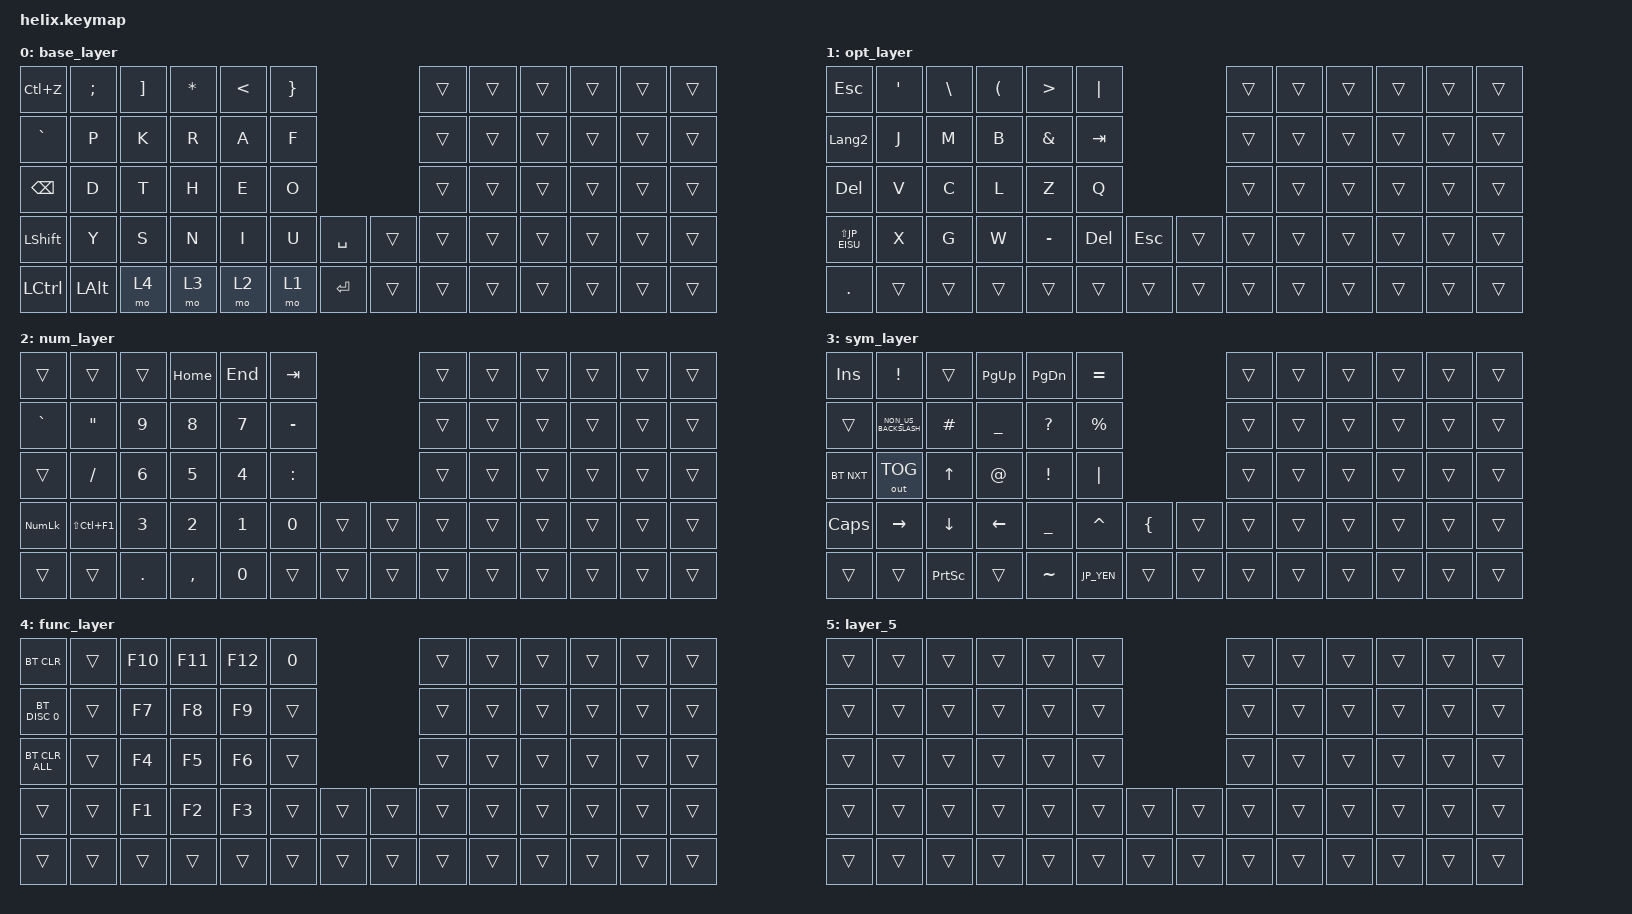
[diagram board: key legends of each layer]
// OS設定を日本語キーボードのまま使用するための変換定義

#define JP_DQUOTE       AT                // "
#define JP_AMPERSAND    CARET             // &
#define JP_QUOTE        AMPERSAND         // '
#define JP_EQUAL        UNDER             // =
#define JP_CARET        EQUAL             // ^
#define JP_YEN          0x89              // ¥
#define JP_PLUS         COLON             // +
#define JP_TILDE        PLUS              // ~
#define JP_PIPE         LS(0x89)          // |
#define JP_AT           LEFT_BRACKET      // @
#define JP_COLON        SINGLE_QUOTE      // :
#define JP_ASTERISK     DOUBLE_QUOTES     // *
#define JP_BACKQUOTE    LEFT_BRACE        // `
#define JP_UNDERSCORE   LS(0x87)          // _
#define JP_LBRACKET     RIGHT_BRACKET     // [
#define JP_RBRACKET     BACKSLASH         // ]
#define JP_LPAREN       ASTERISK          // (
#define JP_RPAREN       LEFT_PARENTHESIS  // )
#define JP_LBRACE       RIGHT_BRACE       // {
#define JP_RBRACE       PIPE              // }
#define JP_KANA         LANGUAGE_1        // かな
#define JP_EISU         LANGUAGE_2        // 英数
#define JP_HANZEN       GRAVE             // 半角/全角
#define JP_CAPS         LS(JP_EISU)       // Caps Lock

//#include <locale/keys_ja.h> // 日本語配列用ヘッダー

/*
 * Copyright (c) 2020 The ZMK Contributors
 *
 * SPDX-License-Identifier: MIT
 */

#include <behaviors.dtsi>
#include <dt-bindings/zmk/bt.h>
#include <dt-bindings/zmk/ext_power.h>
#include <dt-bindings/zmk/keys.h>
#include <dt-bindings/zmk/outputs.h>
#include <dt-bindings/zmk/rgb.h>

#define DEFAULT 0
#define LOWER  1
#define RAISE  2
#define ADJUST 3

/* NOTE: At the time of the creation of this keymap, there are no specified codes for 'eisuu' and 'kana' input in ZMK.
However, 'LANG1' and 'LANG2' are fully-functioning candidates for 'kana' and 'eisuu' input respectively.
As such, those are in use within the default layer at this time.*/

/ {
    keymap {
        compatible = "zmk,keymap";

        base_layer {
            //* Base
            //   * ,-----------------------------------------.             ,-----------------------------------------.
            //   * |  C+z |   ;  |   [  |   (  |   <  |   {  |             |      |      |      |      |      |      |
            //   * |------+------+------+------+------+------|             |------+------+------+------+------+------|
            //   * | KANA |   P  |   K  |   R  |   A  |   F  |             |      |      |      |      |      |      |
            //   * |------+------+------+------+------+------|             |------+------+------+------+------+------|
            //   * |  BS  |   D  |   T  |   H  |   E  |   O  |             |      |      |      |      |      |      |
            //   * |------+------+------+------+------+------+------+------+------+------+------+------+------+------|
            //   * | Shift|   Y  |   S  |   N  |   I  |   U  |Space |      |      |      |      |      |      |      |
            //   * |------+------+------+------+------+------+------+------+------+------+------+------+------+------|
            //   * | Ctrl | Alt  | Gui  | Sym  | Num  | OPT  | Ent  |      |      |      |      |      |      |      |
            //   * `-------------------------------------------------------------------------------------------------'

            bindings = <
&kp LC(Z)         &kp SEMI  &kp JP_LBRACKET  &kp JP_LPAREN  &kp LT  &kp JP_LBRACE       &trans     &trans    &trans   &trans     &trans     &trans
&kp JP_HANZEN     &kp P     &kp K     &kp R     &kp A   &kp F                           &trans     &trans    &trans   &trans     &trans     &trans
&kp BSPC          &kp D     &kp T     &kp H     &kp E   &kp O                           &trans     &trans    &trans   &trans     &trans     &trans
&kp LEFT_SHIFT    &kp Y     &kp S     &kp N     &kp I   &kp U     &kp SPACE     &trans  &trans     &trans    &trans   &trans     &trans     &trans
&kp LEFT_CONTROL  &kp LALT  &mo 4  &mo 3     &mo 2   &mo 1     &kp RET         &trans   &trans     &trans    &trans   &trans     &trans     &trans
            >;
        };

        opt_layer {
            //* Opt
            // * ,-----------------------------------------.             ,-----------------------------------------.
            // * |  Esc |  :   |  ]   |  )   |  >   |  }   |             |      |      |      |      |      |      |
            // * |------+------+------+------+------+------|             |------+------+------+------+------+------|
            // * |  EISU|   J  |   M  |   B  |   '  |  Tab |             |      |      |      |      |      |      |
            // * |------+------+------+------+------+------|             |------+------+------+------+------+------|
            // * |   BS  |   V  |   C  |   L  |   Z  |  Q   |             |      |      |      |      |      |      |
            // * |------+------+------+------+------+------+------+------+------+------+------+------+------+------|
            // * |  CAPS|   X  |   G  |   W  |   -  |  Del | Esc  |      |      |      |      |      |      |      |
            // * |------+------+------+------+------+------+------+------+------+------+------+------+------+------|
            // * |      |      |      |   ,  | DTOP |      |      |      |      |      |      |      |      |      |
            // * `-------------------------------------------------------------------------------------------------'         

            bindings = <
&kp ESC      &kp SINGLE_QUOTE  &kp JP_RBRACKET     &kp JP_RPAREN  &kp GT         &kp JP_RBRACE                        &trans     &trans    &trans   &trans     &trans     &trans
&kp JP_EISU  &kp J             &kp M               &kp B          &kp JP_QUOTE   &kp TAB                              &trans     &trans    &trans   &trans     &trans     &trans
&kp DEL      &kp V             &kp C               &kp L          &kp Z          &kp Q                                &trans     &trans    &trans   &trans     &trans     &trans
&kp JP_CAPS  &kp X             &kp G               &kp W          &kp MINUS      &kp DEL          &kp ESC    &trans   &trans     &trans    &trans   &trans     &trans     &trans
&kp DOT       &trans            &trans              &trans         &trans         &trans           &trans     &trans   &trans     &trans     &trans   &trans     &trans     &trans
            >;
        };

        num_layer {
            //* NUM
            // * ,-----------------------------------------.             ,-----------------------------------------.
            // * |　　　|     |       |  HOME |  END |TAB   |            |      |      |      |      |      |      |
            // * |------+------+------+------+------+------|             |------+------+------+------+------+------|
            // * | 　　 | *   |   9   |   8  |  7  |   -   |             |      |      |      |      |      |      |
            // * |------+------+------+------+------+------|             |------+------+------+------+------+------|
            // * |      |   / |   6 |   5  |   4  |   +    |             |      |      |      |      |      |      |
            // * |------+------+------+------+------+------+------+------+------+------+------+------+------+------|
            // * |      |      |  3  |   2  |   1  |  0    |      |      |      |      |      |      |      |      |
            // * |------+------+------+------+------+------+------+------+------+------+------+------+------+------|
            // * |      |      |   ,  |   .   |  0  |      |      |      |      |      |      |      |      |      |
            // * `-------------------------------------------------------------------------------------------------'

            bindings = <
&trans          &trans           &trans        &kp HOME      &kp END       &kp TAB                           &trans   &trans     &trans   &trans    &trans   &trans
&kp GRAVE       &kp JP_ASTERISK  &kp N9        &kp N8        &kp N7        &kp MINUS                         &trans   &trans     &trans   &trans    &trans   &trans
&trans          &kp SLASH        &kp NUMBER_6  &kp N5        &kp NUMBER_4  &kp JP_PLUS                       &trans   &trans     &trans   &trans    &trans   &trans
&kp KP_NUMLOCK  &kp LS(LC(F1))   &kp NUMBER_3  &kp NUMBER_2  &kp NUMBER_1  &kp N0       &trans    &trans     &trans   &trans     &trans   &trans    &trans   &trans
&trans          &trans           &kp PERIOD    &kp COMMA     &kp N0        &trans       &trans    &trans     &trans   &trans     &trans   &trans    &trans   &trans
            >;
        };

        sym_layer {
// ,-----------------------------------------.
// |  Ins |  GRV |      |  PU  |  PD  |   ^  |
// |------+------+------+------+------+------|
// |      |   \  |   #  |   =  |   ?  |   %  |
// |------+------+------+------+------+------|
// |      |   $  |   ↑  |   @  |   !  |   |  |
// |------+------+------+------+------+------+------.
// |  CL  |  <-  |   ↓  |  ->  |   _  |   &  |      |
// |------+------+------+------+------+------+------|
// |      |      |  PS  |      |   ~  |  ￥  |      |
//  `-----------------------------------------------'            
            bindings = <
&kp INSERT  &kp EXCL              &trans           &kp PAGE_UP      &kp PG_DN        &kp JP_CARET                            &trans   &trans     &trans   &trans    &trans   &trans
&trans      &kp NON_US_BACKSLASH  &kp HASH         &kp JP_EQUAL     &kp QUESTION     &kp PERCENT                             &trans   &trans     &trans   &trans    &trans   &trans
&bt BT_NXT  &out OUT_TOG          &kp UP_ARROW     &kp AT_SIGN      &kp EXCLAMATION  &kp PIPE                                &trans   &trans     &trans   &trans    &trans   &trans
&kp CAPS    &kp RIGHT_ARROW       &kp DOWN_ARROW   &kp LEFT_ARROW  &kp UNDERSCORE   &kp JP_AMPERSAND  &kp LBRC     &trans   &trans   &trans     &trans   &trans    &trans   &trans
&trans      &trans                &kp PRINTSCREEN  &trans           &kp TILDE         &kp JP_YEN        &trans     &trans   &trans   &trans     &trans   &trans    &trans   &trans
            >;
        };

        func_layer {
            bindings = <

            //* Func
            // * ,-----------------------------------------.             ,-----------------------------------------.
            // * |BT_CLR|  　　| F10 　| F11  | F12  |     |             |      |      |      |      |      |      |
            // * |------+------+------+------+------+------|             |------+------+------+------+------+------|
            // * |BT BS0 |　　　|  F7  |  F8  |  F9  |     |             |      |      |      |      |      |      |
            // * |------+------+------+------+------+------|             |------+------+------+------+------+------|
            // * |      | 　　　|  F4  |  F5  |  F6  |     |             |      |      |      |      |      |      |
            // * |------+------+------+------+------+------+------+------+------+------+------+------+------+------|
            // * |      |       |  F1 |  F2  |  F3  | 　　　|      |      |      |      |      |      |      |      |
            // * |------+------+------+------+------+------+------+------+------+------+------+------+------+------|
            // * |      |      |      |      |      |      |      |      |      |      |      |      |      |      |
            // * `-------------------------------------------------------------------------------------------------'
&bt BT_CLR     &trans  &kp F10  &kp F11  &kp F12  &kp N0                    &trans  &trans  &trans  &trans  &trans  &trans
&bt BT_DISC 0  &trans  &kp F7   &kp F8   &kp F9   &trans                    &trans  &trans  &trans  &trans  &trans  &trans
&bt BT_CLR_ALL    &trans  &kp F4   &kp F5   &kp F6   &trans                    &trans  &trans  &trans  &trans  &trans  &trans
&trans         &trans  &kp F1   &kp F2   &kp F3   &trans  &trans    &trans  &trans  &trans  &trans  &trans  &trans  &trans
&trans         &trans  &trans   &trans   &trans   &trans  &trans    &trans  &trans  &trans  &trans  &trans  &trans  &trans
            >;
        };

        layer_5 {
            bindings = <
&trans  &trans  &trans  &trans  &trans  &trans                    &trans  &trans  &trans  &trans  &trans  &trans
&trans  &trans  &trans  &trans  &trans  &trans                    &trans  &trans  &trans  &trans  &trans  &trans
&trans  &trans  &trans  &trans  &trans  &trans                    &trans  &trans  &trans  &trans  &trans  &trans
&trans  &trans  &trans  &trans  &trans  &trans  &trans    &trans  &trans  &trans  &trans  &trans  &trans  &trans
&trans  &trans  &trans  &trans  &trans  &trans  &trans    &trans  &trans  &trans  &trans  &trans  &trans  &trans
            >;
        };
    };
};
